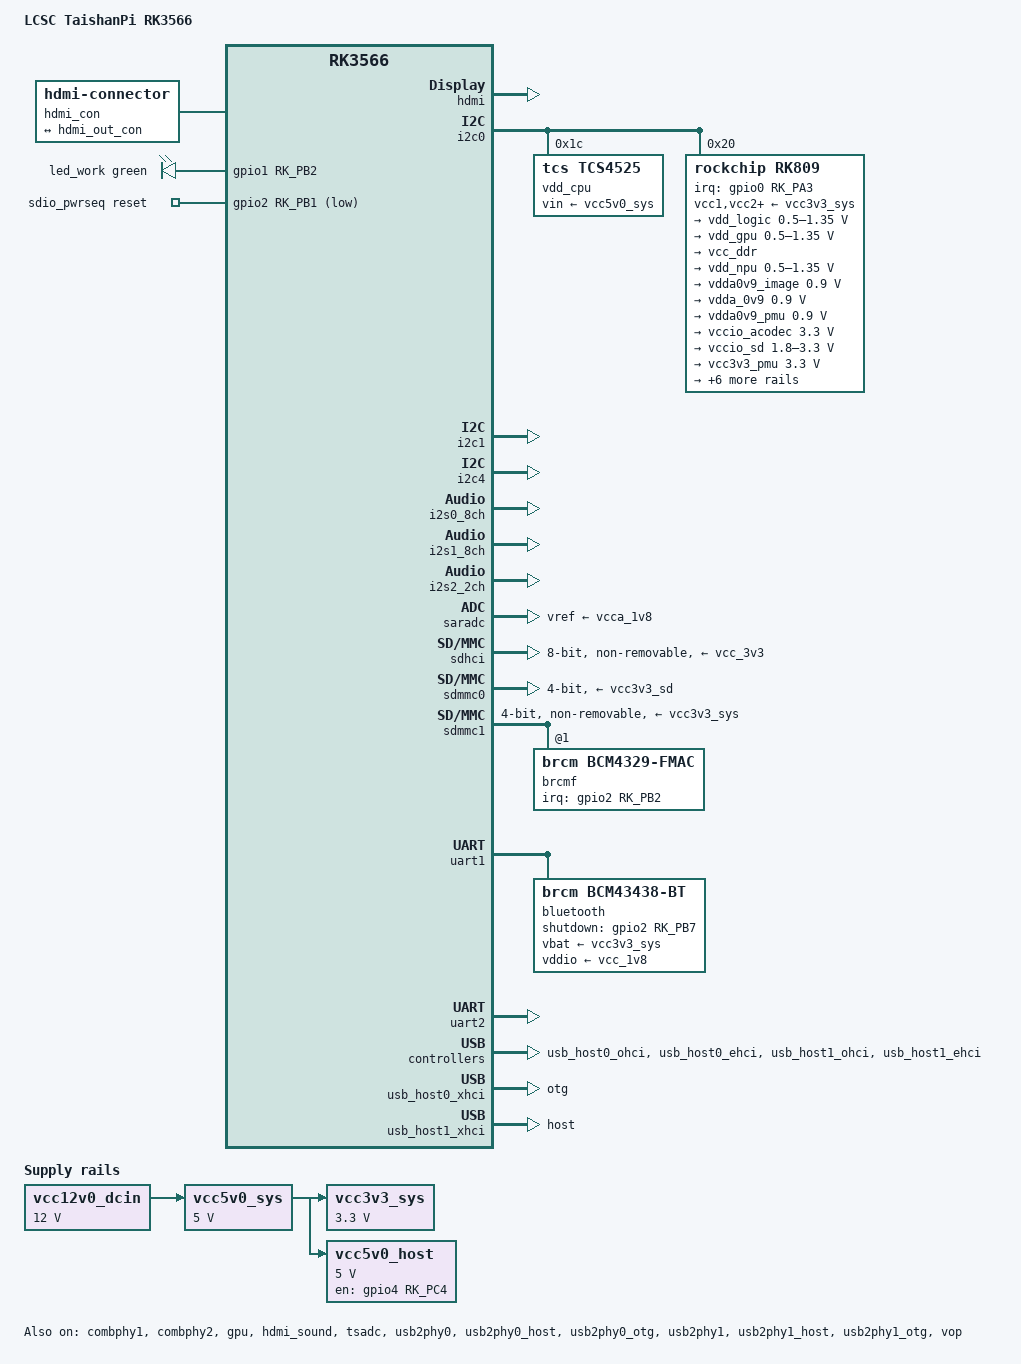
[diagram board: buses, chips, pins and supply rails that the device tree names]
// SPDX-License-Identifier: (GPL-2.0+ OR MIT)
/*
 * Copyright (c) 2025 Platinenmacher.
 *
 */

/dts-v1/;
#include <dt-bindings/gpio/gpio.h>
#include <dt-bindings/leds/common.h>
#include <dt-bindings/pinctrl/rockchip.h>
#include <dt-bindings/soc/rockchip,vop2.h>
#include "rk3566.dtsi"

/ {
	model = "LCSC TaishanPi RK3566";
	compatible = "rockchip,lcsc-taishanpi-rk3566", "rockchip,rk3566";

	aliases {
		mmc0 = &sdmmc0;
		mmc1 = &sdhci;
		mmc2 = &sdmmc1;
	};

	chosen: chosen {
		stdout-path = "serial2:1500000n8";
	};

	reserved-memory {
		#address-cells = <2>;
		#size-cells = <2>;
		ranges;

		ramoops: ramoops@110000 {
			compatible = "ramoops";
			reg = <0 0x110000 0 0xf0000>;
			console-size = <0x80000>;
			ftrace-size = <0x00000>;
			pmsg-size = <0x50000>;
			record-size = <0x20000>;
		};
	};

	hdmi_con: hdmi-con {
		compatible = "hdmi-connector";
		type = "a"; /* full-size */

		port {
			hdmi_con_in: endpoint {
				remote-endpoint = <&hdmi_out_con>;
			};
		};
	};

	leds {
		compatible = "gpio-leds";

		led_work: led-0 {
			gpios = <&gpio1 RK_PB2 GPIO_ACTIVE_HIGH>;
			function = LED_FUNCTION_HEARTBEAT;
			color = <LED_COLOR_ID_GREEN>;
			linux,default-trigger = "heartbeat";
		};
	};

	vcc12v0_dcin: regulator-12v0-dcin {
		compatible = "regulator-fixed";
		regulator-name = "vcc12v0_dcin";
		regulator-always-on;
		regulator-boot-on;
		regulator-min-microvolt = <12000000>;
		regulator-max-microvolt = <12000000>;
	};

	vcc5v0_sys: regulator-5v0-vcc-sys {
		compatible = "regulator-fixed";
		regulator-name = "vcc5v0_sys";
		regulator-always-on;
		regulator-boot-on;
		regulator-min-microvolt = <5000000>;
		regulator-max-microvolt = <5000000>;
		vin-supply = <&vcc12v0_dcin>;
	};

	vcc3v3_sys: regulator-3v3-vcc-sys {
		compatible = "regulator-fixed";
		regulator-name = "vcc3v3_sys";
		regulator-always-on;
		regulator-boot-on;
		regulator-min-microvolt = <3300000>;
		regulator-max-microvolt = <3300000>;
		vin-supply = <&vcc5v0_sys>;
	};

	vcc5v0_host: regulator-5v0-vcc-host {
		compatible = "regulator-fixed";
		enable-active-high;
		gpio = <&gpio4 RK_PC4 GPIO_ACTIVE_HIGH>;
		pinctrl-names = "default";
		pinctrl-0 = <&vcc5v0_host_en>;
		regulator-name = "vcc5v0_host";
		regulator-min-microvolt = <5000000>;
		regulator-max-microvolt = <5000000>;
		vin-supply = <&vcc5v0_sys>;
	};

	sdio_pwrseq: sdio-pwrseq {
		compatible = "mmc-pwrseq-simple";
		clocks = <&rk809 1>;
		clock-names = "ext_clock";
		pinctrl-names = "default";
		pinctrl-0 = <&wifi_enable_h>;
		post-power-on-delay-ms = <500>;
		reset-gpios = <&gpio2 RK_PB1 GPIO_ACTIVE_LOW>;
	};

	rk809-sound {
		compatible = "simple-audio-card";
		simple-audio-card,format = "i2s";
		simple-audio-card,name = "Analog RK809";
		simple-audio-card,mclk-fs = <256>;

		simple-audio-card,cpu {
			sound-dai = <&i2s1_8ch>;
		};
		simple-audio-card,codec {
			sound-dai = <&rk809>;
		};
	};
};

&combphy1 {
	status = "okay";
};

&combphy2 {
	status = "okay";
};

&cpu0 {
	cpu-supply = <&vdd_cpu>;
};

&cpu1 {
	cpu-supply = <&vdd_cpu>;
};

&cpu2 {
	cpu-supply = <&vdd_cpu>;
};

&cpu3 {
	cpu-supply = <&vdd_cpu>;
};

&gpu {
	mali-supply = <&vdd_gpu>;
	status = "okay";
};

&hdmi {
	avdd-0v9-supply = <&vdda0v9_image>;
	avdd-1v8-supply = <&vcca1v8_image>;
	status = "okay";
};

&hdmi_in {
	hdmi_in_vp0: endpoint {
		remote-endpoint = <&vp0_out_hdmi>;
	};
};

&hdmi_out {
	hdmi_out_con: endpoint {
		remote-endpoint = <&hdmi_con_in>;
	};
};

&hdmi_sound {
	status = "okay";
};

&i2c0 {
	status = "okay";

	vdd_cpu: regulator@1c {
		compatible = "tcs,tcs4525";
		reg = <0x1c>;
		fcs,suspend-voltage-selector = <1>;
		regulator-name = "vdd_cpu";
		regulator-always-on;
		regulator-boot-on;
		regulator-min-microvolt = <800000>;
		regulator-max-microvolt = <1150000>;
		regulator-ramp-delay = <2300>;
		vin-supply = <&vcc5v0_sys>;

		regulator-state-mem {
			regulator-off-in-suspend;
		};
	};

	rk809: pmic@20 {
		compatible = "rockchip,rk809";
		reg = <0x20>;
		assigned-clocks = <&cru I2S1_MCLKOUT_TX>;
		assigned-clock-parents = <&cru CLK_I2S1_8CH_TX>;
		#clock-cells = <1>;
		clock-output-names = "rk808-clkout1", "rk808-clkout2";
		clock-names = "mclk";
		clocks = <&cru I2S1_MCLKOUT_TX>;
		interrupt-parent = <&gpio0>;
		interrupts = <RK_PA3 IRQ_TYPE_LEVEL_LOW>;
		pinctrl-names = "default";
		pinctrl-0 = <&pmic_int>, <&i2s1m0_mclk>;
		system-power-controller;
		#sound-dai-cells = <0>;
		wakeup-source;

		vcc1-supply = <&vcc3v3_sys>;
		vcc2-supply = <&vcc3v3_sys>;
		vcc3-supply = <&vcc3v3_sys>;
		vcc4-supply = <&vcc3v3_sys>;
		vcc5-supply = <&vcc3v3_sys>;
		vcc6-supply = <&vcc3v3_sys>;
		vcc7-supply = <&vcc3v3_sys>;
		vcc8-supply = <&vcc3v3_sys>;
		vcc9-supply = <&vcc3v3_sys>;

		regulators {
			vdd_logic: DCDC_REG1 {
				regulator-name = "vdd_logic";
				regulator-always-on;
				regulator-boot-on;
				regulator-min-microvolt = <500000>;
				regulator-max-microvolt = <1350000>;
				regulator-ramp-delay = <6001>;
				regulator-initial-mode = <0x2>;

				regulator-state-mem {
					regulator-off-in-suspend;
				};
			};

			vdd_gpu: DCDC_REG2 {
				regulator-name = "vdd_gpu";
				regulator-always-on;
				regulator-boot-on;
				regulator-min-microvolt = <500000>;
				regulator-max-microvolt = <1350000>;
				regulator-ramp-delay = <6001>;
				regulator-initial-mode = <0x2>;

				regulator-state-mem {
					regulator-off-in-suspend;
				};
			};

			vcc_ddr: DCDC_REG3 {
				regulator-name = "vcc_ddr";
				regulator-always-on;
				regulator-boot-on;
				regulator-initial-mode = <0x2>;

				regulator-state-mem {
					regulator-on-in-suspend;
				};
			};

			vdd_npu: DCDC_REG4 {
				regulator-name = "vdd_npu";
				regulator-always-on;
				regulator-boot-on;
				regulator-min-microvolt = <500000>;
				regulator-max-microvolt = <1350000>;
				regulator-ramp-delay = <6001>;
				regulator-initial-mode = <0x2>;

				regulator-state-mem {
					regulator-off-in-suspend;
				};
			};

			vdda0v9_image: LDO_REG1 {
				regulator-name = "vdda0v9_image";
				regulator-boot-on;
				regulator-always-on;
				regulator-min-microvolt = <900000>;
				regulator-max-microvolt = <900000>;

				regulator-state-mem {
					regulator-off-in-suspend;
				};
			};

			vdda_0v9: LDO_REG2 {
				regulator-name = "vdda_0v9";
				regulator-always-on;
				regulator-boot-on;
				regulator-min-microvolt = <900000>;
				regulator-max-microvolt = <900000>;
				regulator-state-mem {
					regulator-off-in-suspend;
				};
			};

			vdda0v9_pmu: LDO_REG3 {
				regulator-name = "vdda0v9_pmu";
				regulator-always-on;
				regulator-boot-on;
				regulator-min-microvolt = <900000>;
				regulator-max-microvolt = <900000>;

				regulator-state-mem {
					regulator-on-in-suspend;
					regulator-suspend-microvolt = <900000>;
				};
			};

			vccio_acodec: LDO_REG4 {
				regulator-name = "vccio_acodec";
				regulator-always-on;
				regulator-boot-on;
				regulator-min-microvolt = <3300000>;
				regulator-max-microvolt = <3300000>;

				regulator-state-mem {
					regulator-off-in-suspend;
				};
			};

			vccio_sd: LDO_REG5 {
				regulator-name = "vccio_sd";
				regulator-always-on;
				regulator-boot-on;
				regulator-min-microvolt = <1800000>;
				regulator-max-microvolt = <3300000>;

				regulator-state-mem {
					regulator-off-in-suspend;
				};
			};

			vcc3v3_pmu: LDO_REG6 {
				regulator-name = "vcc3v3_pmu";
				regulator-always-on;
				regulator-boot-on;
				regulator-min-microvolt = <3300000>;
				regulator-max-microvolt = <3300000>;

				regulator-state-mem {
					regulator-on-in-suspend;
					regulator-suspend-microvolt = <3300000>;
				};
			};

			vcca_1v8: LDO_REG7 {
				regulator-name = "vcca_1v8";
				regulator-always-on;
				regulator-boot-on;
				regulator-min-microvolt = <1800000>;
				regulator-max-microvolt = <1800000>;

				regulator-state-mem {
					regulator-off-in-suspend;
				};
			};

			vcca1v8_pmu: LDO_REG8 {
				regulator-name = "vcca1v8_pmu";
				regulator-always-on;
				regulator-boot-on;
				regulator-min-microvolt = <1800000>;
				regulator-max-microvolt = <1800000>;

				regulator-state-mem {
					regulator-on-in-suspend;
					regulator-suspend-microvolt = <1800000>;
				};
			};

			vcca1v8_image: LDO_REG9 {
				regulator-name = "vcca1v8_image";
				regulator-always-on;
				regulator-boot-on;
				regulator-min-microvolt = <1800000>;
				regulator-max-microvolt = <1800000>;

				regulator-state-mem {
					regulator-off-in-suspend;
				};
			};

			vcc_1v8: DCDC_REG5 {
				regulator-name = "vcc_1v8";
				regulator-always-on;
				regulator-boot-on;
				regulator-min-microvolt = <1800000>;
				regulator-max-microvolt = <1800000>;

				regulator-state-mem {
					regulator-off-in-suspend;
				};
			};

			vcc_3v3: SWITCH_REG1 {
				regulator-name = "vcc_3v3";
				regulator-always-on;
				regulator-boot-on;

				regulator-state-mem {
					regulator-off-in-suspend;
				};
			};

			vcc3v3_sd: SWITCH_REG2 {
				regulator-name = "vcc3v3_sd";
				regulator-always-on;
				regulator-boot-on;

				regulator-state-mem {
					regulator-off-in-suspend;
				};
			};
		};

		codec {
			rockchip,mic-in-differential;
		};
	};
};

&i2c1 {
	status = "okay";

/*
	touchscreen0: goodix@14 {
		compatible = "goodix,gt1151";
		reg = <0x14>;
		interrupt-parent = <&gpio0>;
		interrupts = <RK_PB5 IRQ_TYPE_EDGE_FALLING>;
		AVDD28-supply = <&vcc3v3_lcd0_n>;
		irq-gpios = <&gpio0 RK_PB5 GPIO_ACTIVE_HIGH>;
		pinctrl-names = "default";
		pinctrl-0 = <&touch_int &touch_rst>;
		reset-gpios = <&gpio0 RK_PB6 GPIO_ACTIVE_HIGH>;
		VDDIO-supply = <&vcc3v3_lcd0_n>;
	};
*/
};

&i2c4 {
	pinctrl-names = "default";
	pinctrl-0 = <&i2c4m0_xfer>;
	status = "okay";
	/* Camera */
};

&i2s0_8ch {
	status = "okay";
	/* HDMI */
	#sound-dai-cells = <0>;
    rockchip,trcm-sync-tx-only;
};

&i2s1_8ch {
	pinctrl-names = "default";
	pinctrl-0 = <&i2s1m0_sclktx &i2s1m0_lrcktx &i2s1m0_sdi0 &i2s1m0_sdo0>;
	rockchip,trcm-sync-tx-only;
	status = "okay";
	/* PMIC */
};

&i2s2_2ch {
	rockchip,trcm-sync-tx-only;
	status = "okay";
	/* AP6212 Bluetooth */
};


&pinctrl {
	bt {
		bt_enable_h: bt-enable-h {
			rockchip,pins = <2 RK_PB7 RK_FUNC_GPIO &pcfg_pull_none>;
		};

		bt_host_wake_l: bt-host-wake-l {
			rockchip,pins = <2 RK_PC0 RK_FUNC_GPIO &pcfg_pull_down>;
		};

		bt_wake_l: bt-wake-l {
			rockchip,pins = <2 RK_PC1 RK_FUNC_GPIO &pcfg_pull_none>;
		};
	};

	hp-detect {
		hp_det: hp-det {
			rockchip,pins = <4 RK_PC6 RK_FUNC_GPIO &pcfg_pull_up>;
		};
	};

	pmic {
		pmic_int: pmic-int {
			rockchip,pins = <0 RK_PA3 RK_FUNC_GPIO &pcfg_pull_up>;
		};
	};

	sdio-pwrseq {
		wifi_enable_h: wifi-enable-h {
			rockchip,pins = <2 RK_PB1 RK_FUNC_GPIO &pcfg_pull_none>;
		};

		wifi_host_wake_h: wifi-host-wake-l {
			rockchip,pins = <2 RK_PB2 RK_FUNC_GPIO &pcfg_pull_none>;
		};
	};

	usb2 {
		vcc5v0_host_en: vcc5v0-host-en {
			rockchip,pins = <4 RK_PC4 RK_FUNC_GPIO &pcfg_pull_none>;
		};
	};
};

&pmu_io_domains {
	pmuio1-supply = <&vcc3v3_pmu>;
	pmuio2-supply = <&vcc3v3_pmu>;
	vccio1-supply = <&vccio_acodec>;
	vccio2-supply = <&vcc_1v8>; /* Option R59 best / R60 n_best */
	vccio3-supply = <&vccio_sd>;
	vccio4-supply = <&vcc_1v8>; /* Option R55 best / R56 n_best */
	vccio5-supply = <&vcc_3v3>;
	vccio6-supply = <&vcc_1v8>;
	vccio7-supply = <&vcc_3v3>;
	status = "okay";
};

&pmugrf {
	reboot-mode {
		compatible = "syscon-reboot-mode";
		offset = <0x200>;
		mode-normal = <BOOT_NORMAL>;
		mode-loader = <BOOT_BL_DOWNLOAD>;
		mode-recovery = <BOOT_RECOVERY>;
		mode-bootloader = <BOOT_FASTBOOT>;
	};
};

&saradc {
	vref-supply = <&vcca_1v8>;
	status = "okay";
	/* Channel 0: Recovery Button */
	/* Channel 1: Hardware ID */
};

&sdhci {
	bus-width = <8>;
	max-frequency = <200000000>;
	non-removable;
	pinctrl-names = "default";
	pinctrl-0 = <&emmc_bus8 &emmc_clk &emmc_cmd &emmc_datastrobe &emmc_rstnout>;
	vmmc-supply = <&vcc_3v3>;
	vqmmc-supply = <&vcc_1v8>;
	status = "okay";
};

&sdmmc0 {
	bus-width = <4>;
	cap-mmc-highspeed;
	cap-sd-highspeed;
	disable-wp;
	max-frequency = <150000000>;
	pinctrl-names = "default";
	pinctrl-0 = <&sdmmc0_bus4 &sdmmc0_clk &sdmmc0_cmd &sdmmc0_det>;
	sd-uhs-sdr104;
	vmmc-supply = <&vcc3v3_sd>;
	vqmmc-supply = <&vcc_1v8>;
	status = "okay";
};

&sdmmc1 {
	bus-width = <4>;
	cap-sd-highspeed;
	cap-sdio-irq;
	disable-wp;
	keep-power-in-suspend;
	max-frequency = <150000000>;
	mmc-pwrseq = <&sdio_pwrseq>;
	non-removable;
	pinctrl-names = "default";
	pinctrl-0 = <&sdmmc1_bus4 &sdmmc1_cmd &sdmmc1_clk>;
	sd-uhs-sdr104;
	vmmc-supply = <&vcc3v3_sys>;
	vqmmc-supply = <&vcc_1v8>;
	#address-cells = <1>;
	#size-cells = <0>;
	status = "okay";

	brcmf: wifi@1 {
		compatible = "brcm,bcm4329-fmac";
		reg = <1>;
		interrupt-parent = <&gpio2>;
		interrupts = <RK_PB2 IRQ_TYPE_LEVEL_HIGH>;
		interrupt-names = "host-wake";
		pinctrl-names = "default";
		pinctrl-0 = <&wifi_host_wake_h>;
		/*brcm,board-type = "AP6212";*/
	};
};

&tsadc {
	rockchip,hw-tshut-mode = <1>;
	rockchip,hw-tshut-polarity = <0>;
	status = "okay";
};

&uart1 {
	pinctrl-names = "default";
	pinctrl-0 = <&uart1m0_xfer &uart1m0_ctsn &uart1m0_rtsn>;
	uart-has-rtscts;
	status = "okay";

	bluetooth: bluetooth {
		compatible = "brcm,bcm43438-bt";
		clocks = <&rk809 1>;
		clock-names = "lpo";
		max-speed = <3000000>;
		pinctrl-names = "default";
		pinctrl-0 = <&bt_host_wake_l &bt_wake_l &bt_enable_h>;
		shutdown-gpios = <&gpio2 RK_PB7 GPIO_ACTIVE_HIGH>;
		vbat-supply = <&vcc3v3_sys>;
		vddio-supply = <&vcc_1v8>;
	};
};

&uart2 {
	pinctrl-names = "default";
	pinctrl-0 = <&uart2m0_xfer>;
	status = "okay";
};

&usb_host0_ohci {
	status = "okay";
};

&usb_host0_ehci {
	status = "okay";
};

&usb_host0_xhci {
	dr_mode = "otg";
	status = "okay";
};

&usb_host1_ohci {
	status = "okay";
};

&usb_host1_ehci {
	status = "okay";
};

&usb_host1_xhci {
	dr_mode = "host";
	status = "okay";
};

&usb2phy0 {
	status = "okay";
};

&usb2phy0_host {
	phy-supply = <&vcc5v0_sys>;
	status = "okay";
};

&usb2phy0_otg {
	phy-supply = <&vcc5v0_sys>;
	status = "okay";
};

&usb2phy1 {
	status = "okay";
};

&usb2phy1_host {
	phy-supply = <&vcc5v0_host>;
	status = "okay";
};

&usb2phy1_otg {
	phy-supply = <&vcc5v0_host>;
	status = "okay";
};

&vop {
	assigned-clocks = <&cru DCLK_VOP0>, <&cru DCLK_VOP1>;
	assigned-clock-parents = <&pmucru PLL_HPLL>, <&cru PLL_VPLL>;
	status = "okay";
};

&vop_mmu {
	status = "okay";
};

&vp0 {
	vp0_out_hdmi: endpoint@ROCKCHIP_VOP2_EP_HDMI0 {
		reg = <ROCKCHIP_VOP2_EP_HDMI0>;
		remote-endpoint = <&hdmi_in_vp0>;
	};
};
